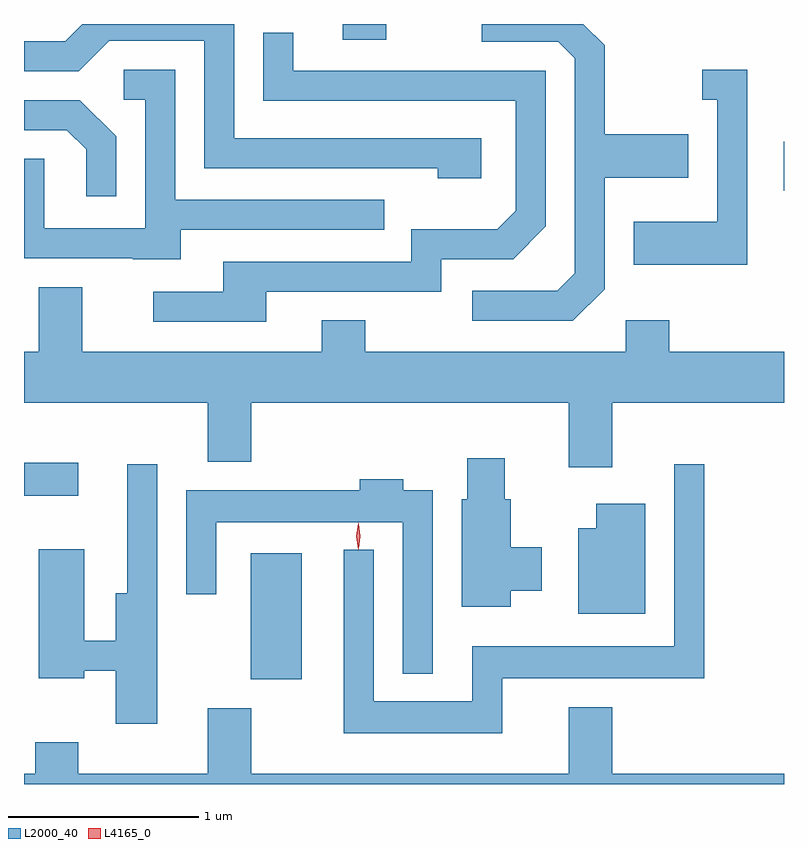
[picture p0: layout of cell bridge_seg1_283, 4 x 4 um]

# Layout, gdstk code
import gdstk
lib = gdstk.Library(unit=1e-6, precision=1e-09)
def R(c, l, rs):  # rectangles x0, y0, x1, y1
    for r in rs: c.add(gdstk.rectangle(r[:2], r[2:], *l))
def P(c, l, *ps):  # polygons
    for p in ps: c.add(gdstk.Polygon(p, *l))
L2000_40 = (2000, 40)
L4165_0 = (4165, 0)

bridge_seg1_283 = lib.new_cell('bridge_seg1_283')
R(bridge_seg1_283, L2000_40, [(838.346,902.561,838.614,903.224), (837.153,903.526,837.439,903.699), (841.151,905.131,841.153,905.389), (838.831,905.926,839.059,906.009)])
P(bridge_seg1_283, L2000_40, [(840.209,904.614),(840.209,905.201),(840.649,905.201),(840.649,905.429),(840.209,905.429),(840.209,905.897),(840.097,906.009),(839.563,906.009),(839.563,905.916),(839.964,905.916),(840.051,905.829),(840.051,904.697),(839.959,904.604),(839.513,904.604),(839.513,904.446),(840.042,904.446)],
  [(839.559,905.409),(838.259,905.409),(838.259,906.009),(837.459,906.009),(837.369,905.919),(837.153,905.919),(837.153,905.761),(837.442,905.761),(837.602,905.921),(838.101,905.921),(838.101,905.251),(839.331,905.251),(839.331,905.196),(839.559,905.196)],
  [(838.429,904.601),(839.349,904.601),(839.349,904.771),(839.727,904.771),(839.899,904.944),(839.899,905.764),(838.569,905.764),(838.569,905.963),(838.411,905.963),(838.411,905.606),(839.741,905.606),(839.741,905.027),(839.644,904.929),(839.191,904.929),(839.191,904.759),(838.201,904.759),(838.201,904.599),(837.833,904.599),(837.833,904.441),(838.429,904.441)],
  [(840.959,905.769),(840.723,905.769),(840.723,905.611),(840.801,905.611),(840.801,904.969),(840.361,904.969),(840.361,904.741),(840.959,904.741)],
  [(837.979,904.926),(839.048,904.926),(839.048,905.084),(837.949,905.084),(837.949,905.769),(837.678,905.769),(837.678,905.611),(837.791,905.611),(837.791,904.934),(837.259,904.934),(837.259,905.299),(837.153,905.299),(837.153,904.776),(837.725,904.776),(837.725,904.771),(837.979,904.771)],
  [(837.639,905.417),(837.447,905.609),(837.153,905.609),(837.153,905.451),(837.379,905.451),(837.481,905.349),(837.481,905.103),(837.639,905.103)],
  [(840.249,904.016),(841.153,904.016),(841.153,904.284),(840.549,904.284),(840.549,904.449),(840.321,904.449),(840.321,904.284),(838.949,904.284),(838.949,904.449),(838.721,904.449),(838.721,904.284),(837.459,904.284),(837.459,904.624),(837.231,904.624),(837.231,904.284),(837.153,904.284),(837.153,904.016),(838.121,904.016),(838.121,903.706),(838.349,903.706),(838.349,904.016),(840.021,904.016),(840.021,903.676),(840.249,903.676)],
  [(839.714,903.026),(839.879,903.026),(839.879,903.254),(839.714,903.254),(839.714,903.509),(839.684,903.509),(839.684,903.724),(839.486,903.724),(839.486,903.509),(839.456,903.509),(839.456,902.941),(839.714,902.941)],
  [(837.854,903.693),(837.696,903.693),(837.696,903.014),(837.636,903.014),(837.636,902.764),(837.469,902.764),(837.469,903.244),(837.231,903.244),(837.231,902.566),(837.469,902.566),(837.469,902.606),(837.636,902.606),(837.636,902.326),(837.854,902.326)],
  [(839.669,902.566),(840.734,902.566),(840.734,903.693),(840.576,903.693),(840.576,902.734),(839.511,902.734),(839.511,902.444),(838.994,902.444),(838.994,903.243),(838.836,903.243),(838.836,902.276),(839.669,902.276)],
  [(839.304,903.554),(839.149,903.554),(839.149,903.614),(838.921,903.614),(838.921,903.554),(838.006,903.554),(838.006,903.008),(838.164,903.008),(838.164,903.386),(839.146,903.386),(839.146,902.588),(839.304,902.588)],
  [(840.424,903.484),(840.166,903.484),(840.166,903.354),(840.071,903.354),(840.071,902.906),(840.424,902.906)],
  [(841.153,902.064),(840.249,902.064),(840.249,902.414),(840.021,902.414),(840.021,902.064),(838.349,902.064),(838.349,902.409),(838.121,902.409),(838.121,902.064),(837.439,902.064),(837.439,902.229),(837.211,902.229),(837.211,902.064),(837.153,902.064),(837.153,902.009),(841.153,902.009)])
P(bridge_seg1_283, L4165_0, [(838.912,903.243),(838.912,903.244),(838.902,903.313),(838.912,903.382),(838.912,903.383),(838.913,903.382),(838.922,903.313),(838.913,903.244)],
  [(838.915,903.247),(838.914,903.248),(838.905,903.314),(838.914,903.38),(838.914,903.38),(838.915,903.38),(838.924,903.314),(838.915,903.248)])

lib.write_gds('bridge_seg1_283.gds')
